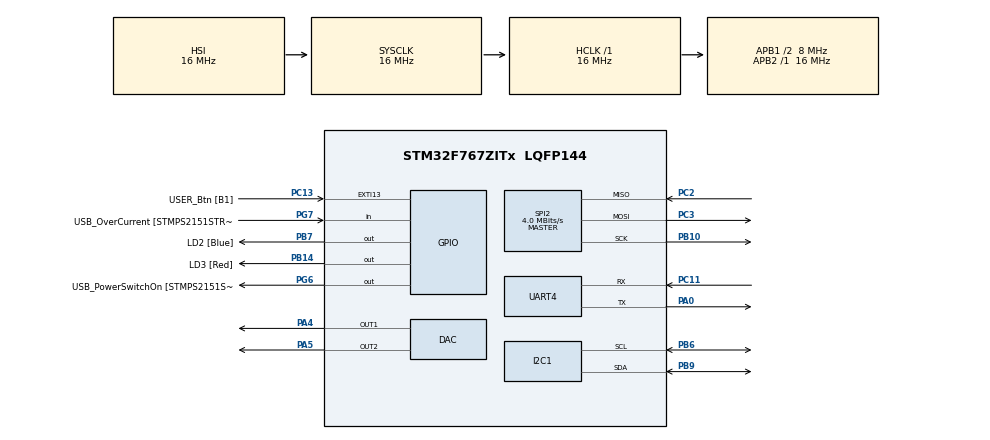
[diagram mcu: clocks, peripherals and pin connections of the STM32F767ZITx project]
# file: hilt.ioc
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FREERTOS.Tasks01=defaultTask,0,128,StartDefaultTask,Default,NULL
Mcu.Family=STM32F7
Mcu.Name=STM32F767ZITx
Mcu.Package=LQFP144
NVIC.PriorityGroup=NVIC_PRIORITYGROUP_4
NVIC.TIM1_UP_TIM10_IRQn=true\:0\:0\:false\:false\:true\:false\:false\:false
NVIC.TimeBase=TIM1_UP_TIM10_IRQn
NVIC.TimeBaseIP=TIM1
PA0/WKUP.Mode=Asynchronous
PA0/WKUP.Signal=UART4_TX
PA1.GPIO_Label=RMII_REF_CLK [LAN8742A-CZ-TR_REFCLK0]
PA1.Signal=ETH_REF_CLK
PA10.GPIO_Label=USB_ID
PA10.Signal=USB_OTG_FS_ID
PA11.GPIO_Label=USB_DM
PA11.Signal=USB_OTG_FS_DM
PA12.GPIO_Label=USB_DP
PA12.Signal=USB_OTG_FS_DP
PA13.GPIO_Label=TMS
PA13.Signal=SYS_JTMS-SWDIO
PA14.GPIO_Label=TCK
PA14.Signal=SYS_JTCK-SWCLK
PA2.GPIO_Label=RMII_MDIO [LAN8742A-CZ-TR_MDIO]
PA2.Signal=ETH_MDIO
PA4.Signal=COMP_DAC1_group
PA5.Signal=COMP_DAC2_group
PA7.GPIO_Label=RMII_CRS_DV [LAN8742A-CZ-TR_CRS_DV]
PA7.Signal=ETH_CRS_DV
PA8.GPIO_Label=USB_SOF [TP1]
PA8.Signal=USB_OTG_FS_SOF
PA9.GPIO_Label=USB_VBUS
PA9.Signal=USB_OTG_FS_VBUS
PB10.Mode=Full_Duplex_Master
PB10.Signal=SPI2_SCK
PB13.GPIO_Label=RMII_TXD1 [LAN8742A-CZ-TR_TXD1]
PB13.Signal=ETH_TXD1
PB14.GPIO_Label=LD3 [Red]
PB14.Signal=GPIO_Output
PB3.GPIO_Label=SW0
PB3.Signal=SYS_JTDO-SWO
PB6.Mode=I2C
PB6.Signal=I2C1_SCL
PB7.GPIO_Label=LD2 [Blue]
PB7.Signal=GPIO_Output
PB9.Mode=I2C
PB9.Signal=I2C1_SDA
PC1.GPIO_Label=RMII_MDC [LAN8742A-CZ-TR_MDC]
PC1.Signal=ETH_MDC
PC11.Mode=Asynchronous
PC11.Signal=UART4_RX
PC13.GPIO_Label=USER_Btn [B1]
PC13.Signal=GPXTI13
PC14/OSC32_IN.Signal=RCC_OSC32_IN
PC15/OSC32_OUT.Signal=RCC_OSC32_OUT
PC2.Mode=Full_Duplex_Master
PC2.Signal=SPI2_MISO
PC3.Mode=Full_Duplex_Master
PC3.Signal=SPI2_MOSI
PC4.GPIO_Label=RMII_RXD0 [LAN8742A-CZ-TR_RXD0]
PC4.Signal=ETH_RXD0
PC5.GPIO_Label=RMII_RXD1 [LAN8742A-CZ-TR_RXD1]
PC5.Signal=ETH_RXD1
PD8.GPIO_Label=STLK_RX [STM32F103CBT6_PA3]
PD8.Signal=USART3_TX
PD9.GPIO_Label=STLK_TX [STM32F103CBT6_PA2]
PD9.Signal=USART3_RX
PG11.GPIO_Label=RMII_TX_EN [LAN8742A-CZ-TR_TXEN]
PG11.Signal=ETH_TX_EN
PG13.GPIO_Label=RMII_TXD0 [LAN8742A-CZ-TR_TXD0]
PG13.Signal=ETH_TXD0
PG6.GPIO_Label=USB_PowerSwitchOn [STMPS2151STR_EN]
PG6.Signal=GPIO_Output
PG7.GPIO_Label=USB_OverCurrent [STMPS2151STR_FAULT]
PG7.Signal=GPIO_Input
PH0/OSC_IN.GPIO_Label=MCO [STM32F103CBT6_PA8]
PH0/OSC_IN.Signal=RCC_OSC_IN
PH1/OSC_OUT.Signal=RCC_OSC_OUT
ProjectManager.HeapSize=0x200
ProjectManager.StackSize=0x400
ProjectManager.TargetToolchain=SW4STM32
RCC.48MHZClocksFreq_Value=24000000
RCC.AHBFreq_Value=16000000
RCC.APB1CLKDivider=RCC_HCLK_DIV2
RCC.APB1Freq_Value=8000000
RCC.APB1TimFreq_Value=16000000
RCC.APB2Freq_Value=16000000
RCC.APB2TimFreq_Value=16000000
RCC.CortexFreq_Value=16000000
RCC.HCLKFreq_Value=16000000
RCC.HSE_VALUE=16000000
RCC.HSI_VALUE=16000000
RCC.LSE_VALUE=32768
RCC.PLLMUL=RCC_PLL_MUL9
RCC.PRESCALERUSB=RCC_USBCLKSOURCE_PLL_DIV1_5
RCC.SYSCLKFreq_VALUE=16000000
RCC.SYSCLKSourceVirtual=RCC_SYSCLKSOURCE_PLLCLK
RCC.USBFreq_Value=96000000
RCC.VCOOutputFreq_Value=192000000
SH.COMP_DAC1_group.0=DAC_OUT1,DAC_OUT1
SH.COMP_DAC2_group.0=DAC_OUT2,DAC_OUT2
SPI2.CalculateBaudRate=4.0 MBits/s
SPI2.Direction=SPI_DIRECTION_2LINES
SPI2.Mode=SPI_MODE_MASTER
SPI2.VirtualType=VM_MASTER
VP_FREERTOS_VS_ENABLE.Mode=Enabled
VP_SYS_VS_tim1.Mode=TIM1
board=NUCLEO-F767ZI

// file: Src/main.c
/**
  ******************************************************************************
  * @file           : main.c
  * @brief          : Main program body
  ******************************************************************************
  * This notice applies to any and all portions of this file
  * that are not between comment pairs USER CODE BEGIN and
  * USER CODE END. Other portions of this file, whether
  * inserted by the user or by software development tools
  * are owned by their respective copyright owners.
  *
  * Copyright (c) 2019 STMicroelectronics International N.V.
  * All rights reserved.
  *
  * Redistribution and use in source and binary forms, with or without
  * modification, are permitted, provided that the following conditions are met:
  *
  * 1. Redistribution of source code must retain the above copyright notice,
  *    this list of conditions and the following disclaimer.
  * 2. Redistributions in binary form must reproduce the above copyright notice,
  *    this list of conditions and the following disclaimer in the documentation
  *    and/or other materials provided with the distribution.
  * 3. Neither the name of STMicroelectronics nor the names of other
  *    contributors to this software may be used to endorse or promote products
  *    derived from this software without specific written permission.
  * 4. This software, including modifications and/or derivative works of this
  *    software, must execute solely and exclusively on microcontroller or
  *    microprocessor devices manufactured by or for STMicroelectronics.
  * 5. Redistribution and use of this software other than as permitted under
  *    this license is void and will automatically terminate your rights under
  *    this license.
  *
  * THIS SOFTWARE IS PROVIDED BY STMICROELECTRONICS AND CONTRIBUTORS "AS IS"
  * AND ANY EXPRESS, IMPLIED OR STATUTORY WARRANTIES, INCLUDING, BUT NOT
  * LIMITED TO, THE IMPLIED WARRANTIES OF MERCHANTABILITY, FITNESS FOR A
  * PARTICULAR PURPOSE AND NON-INFRINGEMENT OF THIRD PARTY INTELLECTUAL PROPERTY
  * RIGHTS ARE DISCLAIMED TO THE FULLEST EXTENT PERMITTED BY LAW. IN NO EVENT
  * SHALL STMICROELECTRONICS OR CONTRIBUTORS BE LIABLE FOR ANY DIRECT, INDIRECT,
  * INCIDENTAL, SPECIAL, EXEMPLARY, OR CONSEQUENTIAL DAMAGES (INCLUDING, BUT NOT
  * LIMITED TO, PROCUREMENT OF SUBSTITUTE GOODS OR SERVICES; LOSS OF USE, DATA,
  * OR PROFITS; OR BUSINESS INTERRUPTION) HOWEVER CAUSED AND ON ANY THEORY OF
  * LIABILITY, WHETHER IN CONTRACT, STRICT LIABILITY, OR TORT (INCLUDING
  * NEGLIGENCE OR OTHERWISE) ARISING IN ANY WAY OUT OF THE USE OF THIS SOFTWARE,
  * EVEN IF ADVISED OF THE POSSIBILITY OF SUCH DAMAGE.
  *
  ******************************************************************************
  */
#include "main.h"
#include "stm32f7xx_hal.h"
#include "cmsis_os.h"

/* USER CODE BEGIN Includes */
#include "cwpack.h"
#include "hilt_message.h"
#include "service_identifiers.h"
#include "gpio_service.h"
#include "i2c_service.h"
#include "action_service.h"
#include "response_service.h"

/* USER CODE END Includes */

DAC_HandleTypeDef hdac;

I2C_HandleTypeDef hi2c1;

SPI_HandleTypeDef hspi2;

UART_HandleTypeDef huart4;

osThreadId defaultTaskHandle;

/* USER CODE BEGIN PV */
/* Private variables ---------------------------------------------------------*/
osThreadId gpioTaskHandle;
osThreadId i2cTaskHandle;
osThreadId actionTaskHandle;
osThreadId responseTaskHandle;

osMessageQId gpio_service_input_q;
osMessageQId gpio_service_output_q;
osMessageQId i2c_service_input_q;
osMessageQId i2c_service_output_q;
osMessageQId action_service_input_q;
osMessageQId action_service_output_q;
osMessageQId response_service_input_q;
osMessageQId response_service_output_q;

osPoolId action_service_input_pool;
osPoolId action_service_output_pool;
osPoolId gpio_service_input_pool;
osPoolId gpio_service_output_pool;
osPoolId i2c_service_input_pool;
osPoolId i2c_service_output_pool;
osPoolId response_service_input_pool;
osPoolId response_service_output_pool;

/* USER CODE END PV */

void SystemClock_Config(void);
static void MX_GPIO_Init(void);
static void MX_I2C1_Init(void);
static void MX_UART4_Init(void);
static void MX_DAC_Init(void);
static void MX_SPI2_Init(void);
void StartDefaultTask(void const * argument);

/* USER CODE BEGIN PFP */
/* Private function prototypes -----------------------------------------------*/

/* USER CODE END PFP */

int main(void)
{

  /* MCU Configuration----------------------------------------------------------*/

  /* Reset of all peripherals, Initializes the Flash interface and the Systick. */
  HAL_Init();

  /* Configure the system clock */
  SystemClock_Config();

  /* Initialize all configured peripherals */
  MX_GPIO_Init();
  MX_I2C1_Init();
  MX_UART4_Init();
  MX_DAC_Init();
  MX_SPI2_Init();

  /* Create the thread(s) */
  /* definition and creation of defaultTask */
  osThreadDef(defaultTask, StartDefaultTask, osPriorityNormal, 0, 128);
  defaultTaskHandle = osThreadCreate(osThread(defaultTask), NULL);

  /* USER CODE BEGIN RTOS_THREADS */
  /* add threads, ... */
  osThreadDef(gpioTask, gpio_service_task, osPriorityNormal, 0, 128);
  gpioTaskHandle = osThreadCreate(osThread(gpioTask), NULL);

  osThreadDef(i2cTask, i2c_service_task, osPriorityNormal, 0, 128);
  i2cTaskHandle = osThreadCreate(osThread(i2cTask), NULL);

  osThreadDef(actionTask, action_service_task, osPriorityNormal, 0, 128);
  actionTaskHandle = osThreadCreate(osThread(actionTask), NULL);

  osThreadDef(responseTask, response_service_task, osPriorityNormal, 0, 128);
  responseTaskHandle = osThreadCreate(osThread(responseTask), NULL);

  /* USER CODE END RTOS_THREADS */

  /* USER CODE BEGIN RTOS_QUEUES */
  /* add queues, ... */
  osMessageQDef(gpioQueue, 5, hilt_message_t*);
  gpio_service_input_q = osMessageCreate(osMessageQ(gpioQueue), gpioTaskHandle);

  osMessageQDef(i2cQueue, 5, hilt_message_t*);
  i2c_service_input_q = osMessageCreate(osMessageQ(i2cQueue), i2cTaskHandle);

  osMessageQDef(actionQueue, 5, hilt_message_t*);
  action_service_input_q = osMessageCreate(osMessageQ(actionQueue), actionTaskHandle);

  osMessageQDef(responseInQueue, 5, hilt_message_t*);
  response_service_input_q = osMessageCreate(osMessageQ(responseInQueue), responseTaskHandle);

  osMessageQDef(responseOutQueue, 5, hilt_message_t*);
  response_service_output_q = osMessageCreate(osMessageQ(responseOutQueue), responseTaskHandle);

  gpio_service_output_q = response_service_input_q;
  i2c_service_output_q = response_service_input_q;
  action_service_output_q = response_service_input_q;

  /* add memory pools */
  osPoolDef(actionInPool, 10, hilt_message_t);
  action_service_input_pool = osPoolCreate(osPool(actionInPool));

  osPoolDef(responseInPool, 10, hilt_message_t);
  response_service_input_pool = osPoolCreate(osPool(responseInPool));

  gpio_service_input_pool = action_service_input_pool;
  i2c_service_input_pool = action_service_input_pool;

  gpio_service_output_pool = response_service_input_pool;
  i2c_service_output_pool = response_service_input_pool;
  action_service_output_pool = response_service_input_pool;
  /* USER CODE END RTOS_QUEUES */

  /* Start scheduler */
  osKernelStart();

  /* We should never get here as control is now taken by the scheduler */

  /* Infinite loop */
  while (1)
  {

  }

}

void SystemClock_Config(void)
{

  RCC_OscInitTypeDef RCC_OscInitStruct;
  RCC_ClkInitTypeDef RCC_ClkInitStruct;
  RCC_PeriphCLKInitTypeDef PeriphClkInitStruct;

    /**Configure the main internal regulator output voltage
    */
  __HAL_RCC_PWR_CLK_ENABLE();

  __HAL_PWR_VOLTAGESCALING_CONFIG(PWR_REGULATOR_VOLTAGE_SCALE3);

    /**Initializes the CPU, AHB and APB busses clocks
    */
  RCC_OscInitStruct.OscillatorType = RCC_OSCILLATORTYPE_HSI;
  RCC_OscInitStruct.HSIState = RCC_HSI_ON;
  RCC_OscInitStruct.HSICalibrationValue = 16;
  RCC_OscInitStruct.PLL.PLLState = RCC_PLL_NONE;
  if (HAL_RCC_OscConfig(&RCC_OscInitStruct) != HAL_OK)
  {
    _Error_Handler(__FILE__, __LINE__);
  }

    /**Initializes the CPU, AHB and APB busses clocks
    */
  RCC_ClkInitStruct.ClockType = RCC_CLOCKTYPE_HCLK|RCC_CLOCKTYPE_SYSCLK
                              |RCC_CLOCKTYPE_PCLK1|RCC_CLOCKTYPE_PCLK2;
  RCC_ClkInitStruct.SYSCLKSource = RCC_SYSCLKSOURCE_HSI;
  RCC_ClkInitStruct.AHBCLKDivider = RCC_SYSCLK_DIV1;
  RCC_ClkInitStruct.APB1CLKDivider = RCC_HCLK_DIV2;
  RCC_ClkInitStruct.APB2CLKDivider = RCC_HCLK_DIV1;

  if (HAL_RCC_ClockConfig(&RCC_ClkInitStruct, FLASH_LATENCY_0) != HAL_OK)
  {
    _Error_Handler(__FILE__, __LINE__);
  }

  PeriphClkInitStruct.PeriphClockSelection = RCC_PERIPHCLK_UART4|RCC_PERIPHCLK_I2C1;
  PeriphClkInitStruct.Uart4ClockSelection = RCC_UART4CLKSOURCE_PCLK1;
  PeriphClkInitStruct.I2c1ClockSelection = RCC_I2C1CLKSOURCE_PCLK1;
  if (HAL_RCCEx_PeriphCLKConfig(&PeriphClkInitStruct) != HAL_OK)
  {
    _Error_Handler(__FILE__, __LINE__);
  }

    /**Configure the Systick interrupt time
    */
  HAL_SYSTICK_Config(HAL_RCC_GetHCLKFreq()/1000);

    /**Configure the Systick
    */
  HAL_SYSTICK_CLKSourceConfig(SYSTICK_CLKSOURCE_HCLK);

  /* SysTick_IRQn interrupt configuration */
  HAL_NVIC_SetPriority(SysTick_IRQn, 15, 0);
}

/* DAC init function */
static void MX_DAC_Init(void)
{

  DAC_ChannelConfTypeDef sConfig;

    /**DAC Initialization
    */
  hdac.Instance = DAC;
  if (HAL_DAC_Init(&hdac) != HAL_OK)
  {
    _Error_Handler(__FILE__, __LINE__);
  }

    /**DAC channel OUT1 config
    */
  sConfig.DAC_Trigger = DAC_TRIGGER_NONE;
  sConfig.DAC_OutputBuffer = DAC_OUTPUTBUFFER_ENABLE;
  if (HAL_DAC_ConfigChannel(&hdac, &sConfig, DAC_CHANNEL_1) != HAL_OK)
  {
    _Error_Handler(__FILE__, __LINE__);
  }

    /**DAC channel OUT2 config
    */
  if (HAL_DAC_ConfigChannel(&hdac, &sConfig, DAC_CHANNEL_2) != HAL_OK)
  {
    _Error_Handler(__FILE__, __LINE__);
  }

}

/* I2C1 init function */
static void MX_I2C1_Init(void)
{

  hi2c1.Instance = I2C1;
  hi2c1.Init.Timing = 0x00303D5B;
  hi2c1.Init.OwnAddress1 = 0;
  hi2c1.Init.AddressingMode = I2C_ADDRESSINGMODE_7BIT;
  hi2c1.Init.DualAddressMode = I2C_DUALADDRESS_DISABLE;
  hi2c1.Init.OwnAddress2 = 0;
  hi2c1.Init.OwnAddress2Masks = I2C_OA2_NOMASK;
  hi2c1.Init.GeneralCallMode = I2C_GENERALCALL_DISABLE;
  hi2c1.Init.NoStretchMode = I2C_NOSTRETCH_DISABLE;
  if (HAL_I2C_Init(&hi2c1) != HAL_OK)
  {
    _Error_Handler(__FILE__, __LINE__);
  }

    /**Configure Analogue filter
    */
  if (HAL_I2CEx_ConfigAnalogFilter(&hi2c1, I2C_ANALOGFILTER_ENABLE) != HAL_OK)
  {
    _Error_Handler(__FILE__, __LINE__);
  }

    /**Configure Digital filter
    */
  if (HAL_I2CEx_ConfigDigitalFilter(&hi2c1, 0) != HAL_OK)
  {
    _Error_Handler(__FILE__, __LINE__);
  }

}

/* SPI2 init function */
static void MX_SPI2_Init(void)
{

  /* SPI2 parameter configuration*/
  hspi2.Instance = SPI2;
  hspi2.Init.Mode = SPI_MODE_MASTER;
  hspi2.Init.Direction = SPI_DIRECTION_2LINES;
  hspi2.Init.DataSize = SPI_DATASIZE_4BIT;
  hspi2.Init.CLKPolarity = SPI_POLARITY_LOW;
  hspi2.Init.CLKPhase = SPI_PHASE_1EDGE;
  hspi2.Init.NSS = SPI_NSS_SOFT;
  hspi2.Init.BaudRatePrescaler = SPI_BAUDRATEPRESCALER_2;
  hspi2.Init.FirstBit = SPI_FIRSTBIT_MSB;
  hspi2.Init.TIMode = SPI_TIMODE_DISABLE;
  hspi2.Init.CRCCalculation = SPI_CRCCALCULATION_DISABLE;
  hspi2.Init.CRCPolynomial = 7;
  hspi2.Init.CRCLength = SPI_CRC_LENGTH_DATASIZE;
  hspi2.Init.NSSPMode = SPI_NSS_PULSE_ENABLE;
  if (HAL_SPI_Init(&hspi2) != HAL_OK)
  {
    _Error_Handler(__FILE__, __LINE__);
  }

}

/* UART4 init function */
static void MX_UART4_Init(void)
{

  huart4.Instance = UART4;
  huart4.Init.BaudRate = 115200;
  huart4.Init.WordLength = UART_WORDLENGTH_8B;
  huart4.Init.StopBits = UART_STOPBITS_1;
  huart4.Init.Parity = UART_PARITY_NONE;
  huart4.Init.Mode = UART_MODE_TX_RX;
  huart4.Init.HwFlowCtl = UART_HWCONTROL_NONE;
  huart4.Init.OverSampling = UART_OVERSAMPLING_16;
  huart4.Init.OneBitSampling = UART_ONE_BIT_SAMPLE_DISABLE;
  huart4.AdvancedInit.AdvFeatureInit = UART_ADVFEATURE_NO_INIT;
  if (HAL_UART_Init(&huart4) != HAL_OK)
  {
    _Error_Handler(__FILE__, __LINE__);
  }

}

/** Configure pins as
        * Analog
        * Input
        * Output
        * EVENT_OUT
        * EXTI
     PC1   ------> ETH_MDC
     PA1   ------> ETH_REF_CLK
     PA2   ------> ETH_MDIO
     PA7   ------> ETH_CRS_DV
     PC4   ------> ETH_RXD0
     PC5   ------> ETH_RXD1
     PB13   ------> ETH_TXD1
     PD8   ------> USART3_TX
     PD9   ------> USART3_RX
     PA8   ------> USB_OTG_FS_SOF
     PA9   ------> USB_OTG_FS_VBUS
     PA10   ------> USB_OTG_FS_ID
     PA11   ------> USB_OTG_FS_DM
     PA12   ------> USB_OTG_FS_DP
     PG11   ------> ETH_TX_EN
     PG13   ------> ETH_TXD0
*/
static void MX_GPIO_Init(void)
{

  GPIO_InitTypeDef GPIO_InitStruct;

  /* GPIO Ports Clock Enable */
  __HAL_RCC_GPIOC_CLK_ENABLE();
  __HAL_RCC_GPIOH_CLK_ENABLE();
  __HAL_RCC_GPIOA_CLK_ENABLE();
  __HAL_RCC_GPIOB_CLK_ENABLE();
  __HAL_RCC_GPIOD_CLK_ENABLE();
  __HAL_RCC_GPIOG_CLK_ENABLE();

  /*Configure GPIO pin Output Level */
  HAL_GPIO_WritePin(GPIOB, LD3_Pin|LD2_Pin, GPIO_PIN_RESET);

  /*Configure GPIO pin Output Level */
  HAL_GPIO_WritePin(USB_PowerSwitchOn_GPIO_Port, USB_PowerSwitchOn_Pin, GPIO_PIN_RESET);

  /*Configure GPIO pin : USER_Btn_Pin */
  GPIO_InitStruct.Pin = USER_Btn_Pin;
  GPIO_InitStruct.Mode = GPIO_MODE_IT_RISING;
  GPIO_InitStruct.Pull = GPIO_NOPULL;
  HAL_GPIO_Init(USER_Btn_GPIO_Port, &GPIO_InitStruct);

  /*Configure GPIO pins : RMII_MDC_Pin RMII_RXD0_Pin RMII_RXD1_Pin */
  GPIO_InitStruct.Pin = RMII_MDC_Pin|RMII_RXD0_Pin|RMII_RXD1_Pin;
  GPIO_InitStruct.Mode = GPIO_MODE_AF_PP;
  GPIO_InitStruct.Pull = GPIO_NOPULL;
  GPIO_InitStruct.Speed = GPIO_SPEED_FREQ_VERY_HIGH;
  GPIO_InitStruct.Alternate = GPIO_AF11_ETH;
  HAL_GPIO_Init(GPIOC, &GPIO_InitStruct);

  /*Configure GPIO pins : RMII_REF_CLK_Pin RMII_MDIO_Pin RMII_CRS_DV_Pin */
  GPIO_InitStruct.Pin = RMII_REF_CLK_Pin|RMII_MDIO_Pin|RMII_CRS_DV_Pin;
  GPIO_InitStruct.Mode = GPIO_MODE_AF_PP;
  GPIO_InitStruct.Pull = GPIO_NOPULL;
  GPIO_InitStruct.Speed = GPIO_SPEED_FREQ_VERY_HIGH;
  GPIO_InitStruct.Alternate = GPIO_AF11_ETH;
  HAL_GPIO_Init(GPIOA, &GPIO_InitStruct);

  /*Configure GPIO pin : RMII_TXD1_Pin */
  GPIO_InitStruct.Pin = RMII_TXD1_Pin;
  GPIO_InitStruct.Mode = GPIO_MODE_AF_PP;
  GPIO_InitStruct.Pull = GPIO_NOPULL;
  GPIO_InitStruct.Speed = GPIO_SPEED_FREQ_VERY_HIGH;
  GPIO_InitStruct.Alternate = GPIO_AF11_ETH;
  HAL_GPIO_Init(RMII_TXD1_GPIO_Port, &GPIO_InitStruct);

  /*Configure GPIO pins : LD3_Pin LD2_Pin */
  GPIO_InitStruct.Pin = LD3_Pin|LD2_Pin;
  GPIO_InitStruct.Mode = GPIO_MODE_OUTPUT_PP;
  GPIO_InitStruct.Pull = GPIO_NOPULL;
  GPIO_InitStruct.Speed = GPIO_SPEED_FREQ_LOW;
  HAL_GPIO_Init(GPIOB, &GPIO_InitStruct);

  /*Configure GPIO pins : STLK_RX_Pin STLK_TX_Pin */
  GPIO_InitStruct.Pin = STLK_RX_Pin|STLK_TX_Pin;
  GPIO_InitStruct.Mode = GPIO_MODE_AF_PP;
  GPIO_InitStruct.Pull = GPIO_NOPULL;
  GPIO_InitStruct.Speed = GPIO_SPEED_FREQ_VERY_HIGH;
  GPIO_InitStruct.Alternate = GPIO_AF7_USART3;
  HAL_GPIO_Init(GPIOD, &GPIO_InitStruct);

  /*Configure GPIO pin : USB_PowerSwitchOn_Pin */
  GPIO_InitStruct.Pin = USB_PowerSwitchOn_Pin;
  GPIO_InitStruct.Mode = GPIO_MODE_OUTPUT_PP;
  GPIO_InitStruct.Pull = GPIO_NOPULL;
  GPIO_InitStruct.Speed = GPIO_SPEED_FREQ_LOW;
  HAL_GPIO_Init(USB_PowerSwitchOn_GPIO_Port, &GPIO_InitStruct);

  /*Configure GPIO pin : USB_OverCurrent_Pin */
  GPIO_InitStruct.Pin = USB_OverCurrent_Pin;
  GPIO_InitStruct.Mode = GPIO_MODE_INPUT;
  GPIO_InitStruct.Pull = GPIO_NOPULL;
  HAL_GPIO_Init(USB_OverCurrent_GPIO_Port, &GPIO_InitStruct);

  /*Configure GPIO pins : USB_SOF_Pin USB_ID_Pin USB_DM_Pin USB_DP_Pin */
  GPIO_InitStruct.Pin = USB_SOF_Pin|USB_ID_Pin|USB_DM_Pin|USB_DP_Pin;
  GPIO_InitStruct.Mode = GPIO_MODE_AF_PP;
  GPIO_InitStruct.Pull = GPIO_NOPULL;
  GPIO_InitStruct.Speed = GPIO_SPEED_FREQ_VERY_HIGH;
  GPIO_InitStruct.Alternate = GPIO_AF10_OTG_FS;
  HAL_GPIO_Init(GPIOA, &GPIO_InitStruct);

  /*Configure GPIO pin : USB_VBUS_Pin */
  GPIO_InitStruct.Pin = USB_VBUS_Pin;
  GPIO_InitStruct.Mode = GPIO_MODE_INPUT;
  GPIO_InitStruct.Pull = GPIO_NOPULL;
  HAL_GPIO_Init(USB_VBUS_GPIO_Port, &GPIO_InitStruct);

  /*Configure GPIO pins : RMII_TX_EN_Pin RMII_TXD0_Pin */
  GPIO_InitStruct.Pin = RMII_TX_EN_Pin|RMII_TXD0_Pin;
  GPIO_InitStruct.Mode = GPIO_MODE_AF_PP;
  GPIO_InitStruct.Pull = GPIO_NOPULL;
  GPIO_InitStruct.Speed = GPIO_SPEED_FREQ_VERY_HIGH;
  GPIO_InitStruct.Alternate = GPIO_AF11_ETH;
  HAL_GPIO_Init(GPIOG, &GPIO_InitStruct);

}

void StartDefaultTask(void const * argument)
{

  /* USER CODE BEGIN 5 */
  hilt_message_t* msg;
  cw_pack_context pc;
  uint16_t pin = 7;

  /* Infinite loop */
  for(;;)
  {
	msg = osPoolAlloc(action_service_input_pool);
    msg->service = msg->service == GPIO_SERVICE ? I2C_SERVICE : GPIO_SERVICE;
    msg->id += 1;
    msg->type = 1;

    if (msg->service == GPIO_SERVICE)
    {
      msg->action = msg->action == 1 ? 0: 1;
    }

	cw_pack_context_init (&pc, msg->data, 20, NULL);
    cw_pack_unsigned (&pc, pin);

    msg->length = pc.current - pc.start;

    osMessagePut(action_service_input_q, (uint32_t)msg, 10);
    osDelay(1000);
  }
  /* USER CODE END 5 */
}

void HAL_TIM_PeriodElapsedCallback(TIM_HandleTypeDef *htim)
{
  if (htim->Instance == TIM1) {
    HAL_IncTick();
  }
}

void _Error_Handler(char *file, int line)
{
  while(1)
  {
  }
}

/************************ (C) COPYRIGHT STMicroelectronics *****END OF FILE****/
